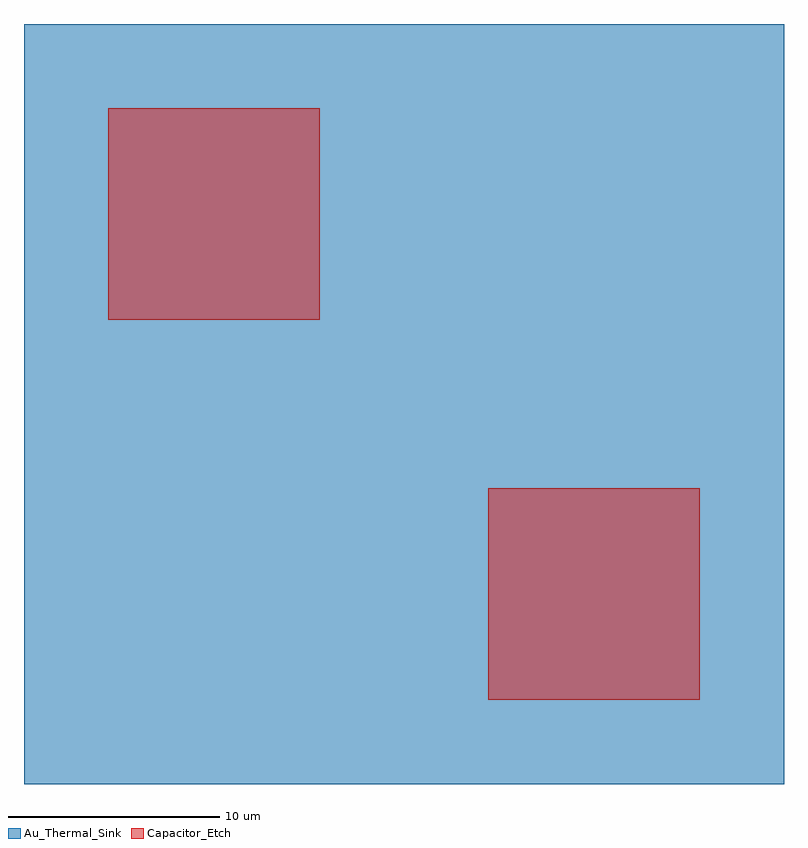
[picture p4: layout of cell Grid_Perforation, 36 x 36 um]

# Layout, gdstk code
import gdstk
lib = gdstk.Library(unit=1e-6, precision=1e-09)
def R(c, l, rs):  # rectangles x0, y0, x1, y1
    for r in rs: c.add(gdstk.rectangle(r[:2], r[2:], *l))
Capacitor_Etch = (7, 0)
Au_Thermal_Sink = (12, 0)

grid_perforation = lib.new_cell('Grid_Perforation')
R(grid_perforation, Capacitor_Etch, [(38,12,48,22), (20,30,30,40)])
R(grid_perforation, Au_Thermal_Sink, [(16,8,34,26), (34,8,52,26), (16,26,34,44), (34,26,52,44)])

lib.write_gds('Grid_Perforation.gds')
